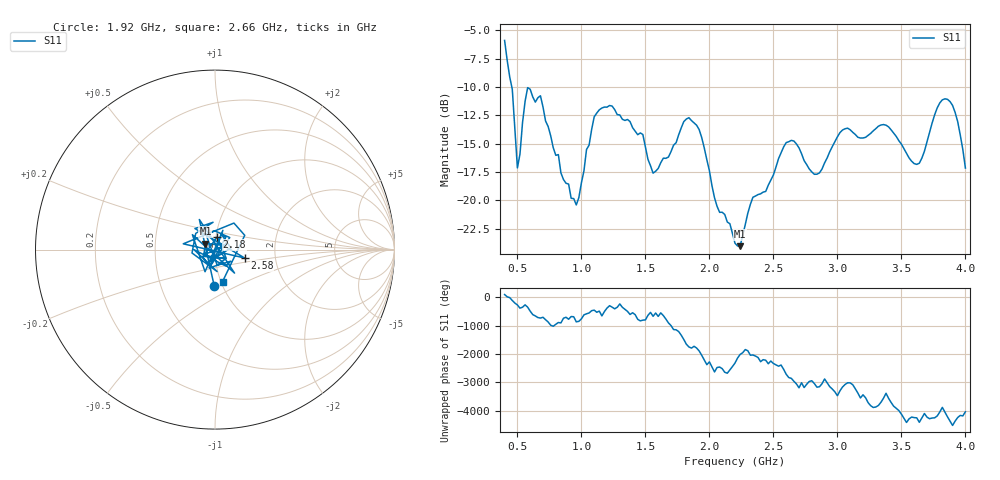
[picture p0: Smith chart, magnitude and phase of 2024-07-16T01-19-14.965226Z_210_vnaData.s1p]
!Created with skrf (http://scikit-rf.org).
# Hz S RI R 50.0
!freq ReS11 ImS11
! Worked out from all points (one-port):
!   181 points, 400 MHz to 4 GHz, reference 50 ohm
!   lowest |S11| = -24.0 dB at 2.24 GHz (marker M1), VSWR 1.13, Z = 44.9 + j3.03 ohm
!   |S11| at or under -10 dB: 456.4 MHz to end of sweep
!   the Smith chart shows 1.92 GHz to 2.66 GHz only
!   S11 on the Smith chart (normalised r, x): 1.92 GHz: 0.91, -0.39; 2.18 GHz: 1.01, +0.14; 2.58 GHz: 1.39, -0.13; 2.66 GHz: 1.02, -0.37
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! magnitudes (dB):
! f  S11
! 400 MHz  -5.9
! 460 MHz  -10.2
! 500 MHz  -17.1
! 580 MHz  -10.1
! 680 MHz  -10.8
! 860 MHz  -18.2
! 960 MHz  -20.4
! 1.1 GHz  -12.6
! 1.3 GHz  -12.5
! 1.48 GHz  -14.2
! 1.56 GHz  -17.6
! 1.76 GHz  -14.2
! 1.92 GHz  -13.8
! 2.06 GHz  -20.5
! 2.18 GHz  -22.9
! 2.2 GHz  -23.8
! 2.24 GHz  -24.0
! 2.34 GHz  -19.7
! 2.58 GHz  -15.3
! 2.66 GHz  -14.8
! 2.84 GHz  -17.7
! 3.1 GHz  -13.8
! 3.38 GHz  -13.4
! 3.56 GHz  -16.3
! 3.64 GHz  -16.7
! 3.84 GHz  -11.0
! 3.92 GHz  -12.3
! 4 GHz  -17.1
